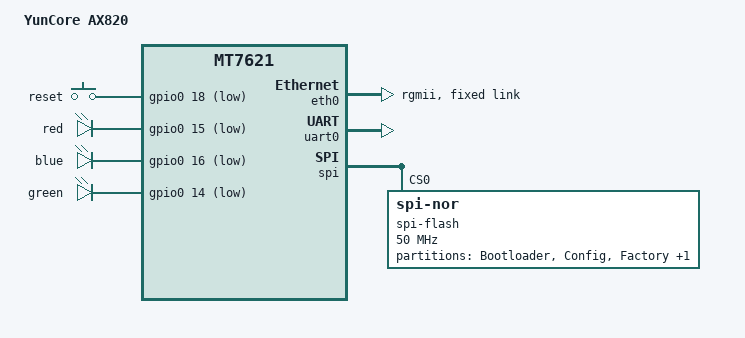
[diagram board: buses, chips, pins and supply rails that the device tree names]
// SPDX-License-Identifier: GPL-2.0-or-later OR MIT

/dts-v1/;

#include "mt7621.dtsi"
#include <dt-bindings/gpio/gpio.h>
#include <dt-bindings/input/input.h>

/ {
	compatible = "yuncore,ax820", "rfnet,rf-ax-622i", "fplus,wf-ap-622l-iic", "mediatek,mt7621-soc";
	model = "YunCore AX820";

	aliases {
		ethernet0 = &eth0;
		serial0 = &uart0;
		spi0 = &spi;
	};

	chosen {
		stdout-path = &uart0;
	};

	keys {
		compatible = "gpio-keys";

		reset {
			label = "reset";
			gpios = <&gpio0 18 GPIO_ACTIVE_LOW>;
			linux,code = <KEY_RESTART>; // needed for uboot to work
		};
	};

	leds {
		compatible = "gpio-leds";

		led_red {
			label = "red";
			gpios = <&gpio0 15 GPIO_ACTIVE_LOW>;
			default-state = "on";
		};

		led_blue {
			label = "blue";
			gpios = <&gpio0 16 GPIO_ACTIVE_LOW>;
		};

		led_green {
			label = "green";
			gpios = <&gpio0 14 GPIO_ACTIVE_LOW>;
		};
	};

	eth0: eth@1e100000 {
		compatible = "mediatek,mt7621-eth";
		reg = <0x1e100000 0x20000>;
		mediatek,ethsys = <&sysc>;

		pinctrl-names = "default";
		pinctrl-0 = <&eth_pins>;

		resets = <&rstctrl RST_FE>, <&rstctrl RST_GMAC>, <&rstctrl RST_MCM>;
		reset-names = "fe", "gmac", "mcm";

		clocks = <&clkctrl MT7621_CLK_GDMA>,
				<&clkctrl MT7621_CLK_ETH>;
		clock-names = "gmac", "fe";

		#address-cells = <1>;
		#size-cells = <0>;

		mediatek,gmac-id = <0>;
		phy-mode = "rgmii";
		mediatek,switch = "mt7530";
		mediatek,mcm;

		status = "okay";
		nvmem-cells = <&mac_wan 0>;
		nvmem-cell-names = "mac-address";

		fixed-link {
			speed = <1000>;
			full-duplex;
		};
	};


};

&pinctrl {
	state_default: pin_state {
		gpios {
			groups = "jtag", "wdt";
			function = "gpio";
		};
	};
};

&uart0 {
	status = "okay";
};

&gpio {
	status = "okay";
};

&spi {
	status = "okay";

	spi-flash@0 {
		compatible = "jedec,spi-nor";
		spi-max-frequency = <50000000>;
		reg = <0>;
		m25p,fast-read;

		partitions {
			compatible = "fixed-partitions";
			#address-cells = <1>;
			#size-cells = <1>;

			partition@0 {
				label = "Bootloader";
				reg = <0x0 0x30000>;
			};

			partition@30000 {
				label = "Config";
				reg = <0x30000 0x10000>;
			};

			partition@50000 {
				label = "Factory";
				reg = <0x50000 0x40000>;
				read-only;

				nvmem-layout {
					compatible = "fixed-layout";
					#address-cells = <1>;
					#size-cells = <1>;

					mac_lan: macaddr@e000 {
						compatible = "mac-base";
						reg = <0xe000 0x6>;
						#nvmem-cell-cells = <1>;
					};
					mac_wan: macaddr@e006 {
						compatible = "mac-base";
						reg = <0xe006 0x6>;
						#nvmem-cell-cells = <1>;
					};
				};
			};

			partition@90000 {
				compatible = "denx,uimage";
				label = "firmware";
				reg = <0x90000 0xf70000>;
			};
		};
	};
};



